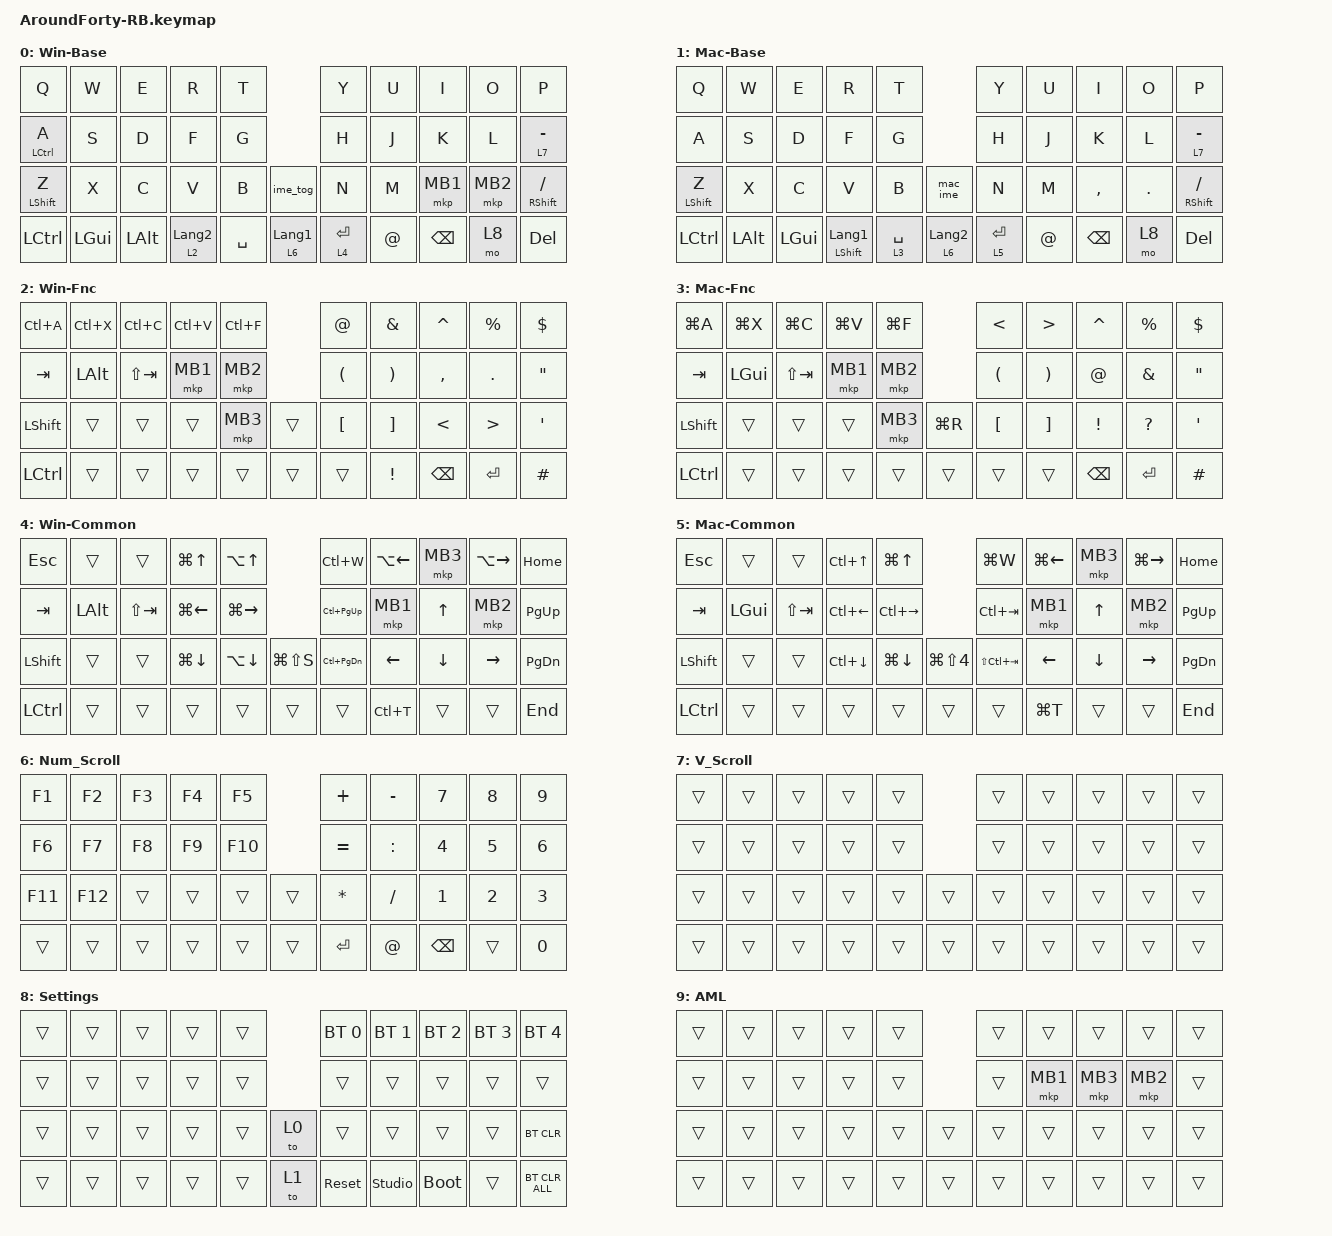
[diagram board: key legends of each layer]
#include <behaviors/rgbled_widget.dtsi>
#include <behaviors.dtsi>
#include <dt-bindings/zmk/bt.h>
#include <dt-bindings/zmk/keys.h>
#include <dt-bindings/zmk/pointing.h>

&mt {
    flavor = "balanced";
    quick-tap-ms = <0>;
};

/ {
    combos {
        compatible = "zmk,combos";

        Escape {
            bindings = <&kp ESCAPE>;
            key-positions = <0 1>;
        };
    };

    macros {
        to_layer_0: to_layer_0 {
            compatible = "zmk,behavior-macro-one-param";
            #binding-cells = <1>;
            bindings = <&to 0 &macro_param_1to1 &kp MACRO_PLACEHOLDER>;
            label = "TO_LAYER_0";
        };

        // Windows用入力切り替え：Alt + Grave (~)

        ime_tog: ime_toggle {
            compatible = "zmk,behavior-macro";
            #binding-cells = <0>;
            bindings =
                <&macro_press>,
                <&kp LALT>,
                <&macro_tap>,
                <&kp GRAVE>,
                <&macro_release>,
                <&kp LALT>;
        };

        // macOS用入力切り替え：Ctrl + Space

        mac_ime: mac_ime_toggle {
            compatible = "zmk,behavior-macro";
            #binding-cells = <0>;
            bindings =
                <&macro_press>,
                <&kp LCTRL>,
                <&macro_tap>,
                <&kp SPACE>,
                <&macro_release>,
                <&kp LCTRL>;
        };
    };

    behaviors {
        lt_to_layer_0: lt_to_layer_0 {
            compatible = "zmk,behavior-hold-tap";
            label = "LAYER_TAP_TO_0";
            bindings = <&mo>, <&to_layer_0>;

            #binding-cells = <2>;
            tapping-term-ms = <200>;
        };

        // 

        scroll_up_down: behavior_sensor_rotate_mouse_wheel_up_down {
            compatible = "zmk,behavior-sensor-rotate";
            #sensor-binding-cells = <0>;
            bindings = <&msc SCRL_UP>, <&msc SCRL_DOWN>;

            tap-ms = <20>;
        };

        hold_tap_hwu: hold_tap_hwu {
            compatible = "zmk,behavior-hold-tap";
            label = "HOLD_TAP_HWU";
            bindings = <&kp>, <&kp>;

            #binding-cells = <2>;
            tapping-term-ms = <200>;
            flavor = "balanced";
            hold-while-undecided;
        };
    };

    keymap {
        compatible = "zmk,keymap";

        Win-Base {
            display-name = "Win-Base";
            bindings = <
&kp Q                       &kp W     &kp E     &kp R             &kp T                        &kp Y        &kp U        &kp I          &kp O     &kp P
&hold_tap_hwu LCTRL A       &kp S     &kp D     &kp F             &kp G                        &kp H        &kp J        &kp K          &kp L     &lt 7 MINUS
&hold_tap_hwu LEFT_SHIFT Z  &kp X     &kp C     &kp V             &kp B      &ime_tog          &kp N        &kp M        &mkp MB1       &mkp MB2  &mt RIGHT_SHIFT SLASH
&kp LCTRL                   &kp LGUI  &kp LALT  &lt 2 LANGUAGE_2  &kp SPACE  &lt 6 LANGUAGE_1  &lt 4 ENTER  &kp AT_SIGN  &kp BACKSPACE  &mo 8     &kp DEL
            >;
        };

        Mac-Base {
            display-name = "Mac-Base";
            bindings = <
&kp Q             &kp W         &kp E         &kp R                 &kp T                          &kp Y        &kp U        &kp I          &kp O    &kp P
&kp A             &kp S         &kp D         &kp F                 &kp G                          &kp H        &kp J        &kp K          &kp L    &lt 7 MINUS
&mt LEFT_SHIFT Z  &kp X         &kp C         &kp V                 &kp B        &mac_ime          &kp N        &kp M        &kp COMMA      &kp DOT  &mt RIGHT_SHIFT SLASH
&kp LCTRL         &kp LEFT_ALT  &kp LEFT_GUI  &mt LSHFT LANGUAGE_1  &lt 3 SPACE  &lt 6 LANGUAGE_2  &lt 5 ENTER  &kp AT_SIGN  &kp BACKSPACE  &mo 8    &kp DEL
            >;
        };

        Win-Fnc {
            display-name = "Win-Fnc";
            bindings = <
&kp LC(A)       &kp LC(X)     &kp LC(C)    &kp LC(V)  &kp LC(F)          &kp AT                &kp AMPS               &kp CARET      &kp PERCENT       &kp DOLLAR
&kp TAB         &kp LEFT_ALT  &kp LS(TAB)  &mkp MB1   &mkp MB2           &kp LEFT_PARENTHESIS  &kp RIGHT_PARENTHESIS  &kp COMMA      &kp PERIOD        &kp DOUBLE_QUOTES
&kp LEFT_SHIFT  &trans        &trans       &trans     &mkp MB3   &trans  &kp LEFT_BRACKET      &kp RIGHT_BRACKET      &kp LESS_THAN  &kp GREATER_THAN  &kp SINGLE_QUOTE
&kp LCTRL       &trans        &trans       &trans     &trans     &trans  &trans                &kp EXCL               &kp BACKSPACE  &kp ENTER         &kp HASH
            >;
        };

        Mac-Fnc {
            display-name = "Mac-Fnc";
            bindings = <
&kp LG(A)       &kp LG(X)     &kp LG(C)    &kp LG(V)  &kp LG(F)             &kp LESS_THAN         &kp GREATER_THAN       &kp CARET        &kp PERCENT    &kp DOLLAR
&kp TAB         &kp LEFT_GUI  &kp LS(TAB)  &mkp MB1   &mkp MB2              &kp LEFT_PARENTHESIS  &kp RIGHT_PARENTHESIS  &kp AT_SIGN      &kp AMPERSAND  &kp DOUBLE_QUOTES
&kp LEFT_SHIFT  &trans        &trans       &trans     &mkp MB3   &kp LG(R)  &kp LEFT_BRACKET      &kp RIGHT_BRACKET      &kp EXCLAMATION  &kp QUESTION   &kp SINGLE_QUOTE
&kp LCTRL       &trans        &trans       &trans     &trans     &trans     &trans                &trans                 &kp BACKSPACE    &kp ENTER      &kp HASH
            >;
        };

        Win-Common {
            display-name = "Win-Common";
            bindings = <
&kp ESC    &trans        &trans       &kp LG(UP_ARROW)    &kp LA(UP_ARROW)                    &kp LC(W)          &kp LA(LEFT_ARROW)  &mkp MB3        &kp LA(RIGHT_ARROW)  &kp HOME
&kp TAB    &kp LEFT_ALT  &kp LS(TAB)  &kp LG(LEFT_ARROW)  &kp LG(RIGHT_ARROW)                 &kp LC(PAGE_UP)    &mkp MB1            &kp UP_ARROW    &mkp MB2             &kp PAGE_UP
&kp LSHFT  &trans        &trans       &kp LG(DOWN_ARROW)  &kp LA(DOWN_ARROW)   &kp LG(LS(S))  &kp LC(PAGE_DOWN)  &kp LEFT_ARROW      &kp DOWN_ARROW  &kp RIGHT_ARROW      &kp PAGE_DOWN
&kp LCTRL  &trans        &trans       &trans              &trans               &trans         &trans             &kp LC(T)           &trans          &trans               &kp END
            >;
        };

        Mac-Common {
            display-name = "Mac-Common";
            bindings = <
&kp ESC    &trans        &trans       &kp LC(UP_ARROW)    &kp LG(UP_ARROW)                           &kp LG(W)        &kp LG(LEFT_ARROW)  &mkp MB3        &kp LG(RIGHT_ARROW)  &kp HOME
&kp TAB    &kp LEFT_GUI  &kp LS(TAB)  &kp LC(LEFT_ARROW)  &kp LC(RIGHT_ARROW)                        &kp LC(TAB)      &mkp MB1            &kp UP_ARROW    &mkp MB2             &kp PAGE_UP
&kp LSHFT  &trans        &trans       &kp LC(DOWN_ARROW)  &kp LG(DOWN_ARROW)   &kp LG(LS(NUMBER_4))  &kp LS(LC(TAB))  &kp LEFT_ARROW      &kp DOWN_ARROW  &kp RIGHT_ARROW      &kp PAGE_DOWN
&kp LCTRL  &trans        &trans       &trans              &trans               &trans                &trans           &kp LG(T)           &trans          &trans               &kp END
            >;
        };

        Num_Scroll {
            bindings = <
&kp F1   &kp F2   &kp F3  &kp F4  &kp F5           &kp PLUS      &kp MINUS    &kp N7    &kp N8  &kp N9
&kp F6   &kp F7   &kp F8  &kp F9  &kp F10          &kp EQUAL     &kp COLON    &kp N4    &kp N5  &kp N6
&kp F11  &kp F12  &trans  &trans  &trans   &trans  &kp ASTERISK  &kp FSLH     &kp N1    &kp N2  &kp N3
&trans   &trans   &trans  &trans  &trans   &trans  &kp ENTER     &kp AT_SIGN  &kp BSPC  &trans  &kp N0
            >;
        };

        V_Scroll {
            bindings = <
&trans  &trans  &trans  &trans  &trans          &trans  &trans  &trans  &trans  &trans
&trans  &trans  &trans  &trans  &trans          &trans  &trans  &trans  &trans  &trans
&trans  &trans  &trans  &trans  &trans  &trans  &trans  &trans  &trans  &trans  &trans
&trans  &trans  &trans  &trans  &trans  &trans  &trans  &trans  &trans  &trans  &trans
            >;
        };

        Settings {
            display-name = "Settings";
            bindings = <
&trans  &trans  &trans  &trans  &trans         &bt BT_SEL 0  &bt BT_SEL 1    &bt BT_SEL 2  &bt BT_SEL 3  &bt BT_SEL 4
&trans  &trans  &trans  &trans  &trans         &trans        &trans          &trans        &trans        &trans
&trans  &trans  &trans  &trans  &trans  &to 0  &trans        &trans          &trans        &trans        &bt BT_CLR
&trans  &trans  &trans  &trans  &trans  &to 1  &sys_reset    &studio_unlock  &bootloader   &trans        &bt BT_CLR_ALL
            >;
        };

        AML {
            display-name = "AML";
            bindings = <
&trans  &trans  &trans  &trans  &trans          &trans  &trans    &trans    &trans    &trans
&trans  &trans  &trans  &trans  &trans          &trans  &mkp MB1  &mkp MB3  &mkp MB2  &trans
&trans  &trans  &trans  &trans  &trans  &trans  &trans  &trans    &trans    &trans    &trans
&trans  &trans  &trans  &trans  &trans  &trans  &trans  &trans    &trans    &trans    &trans
            >;
        };
    };
};
